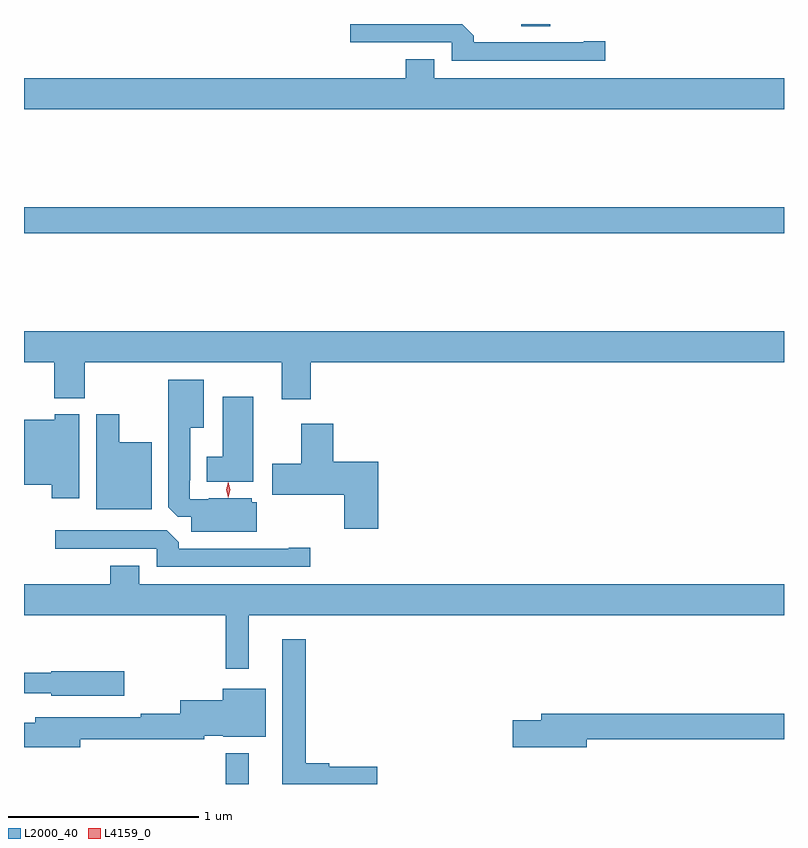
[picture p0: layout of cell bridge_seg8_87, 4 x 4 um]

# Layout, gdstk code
import gdstk
lib = gdstk.Library(unit=1e-6, precision=1e-09)
def R(c, l, rs):  # rectangles x0, y0, x1, y1
    for r in rs: c.add(gdstk.rectangle(r[:2], r[2:], *l))
def P(c, l, *ps):  # polygons
    for p in ps: c.add(gdstk.Polygon(p, *l))
L2000_40 = (2000, 40)
L4159_0 = (4159, 0)

bridge_seg8_87 = lib.new_cell('bridge_seg8_87')
R(bridge_seg8_87, L2000_40, [(804.96,1103.625,805.081,1103.788), (803.899,1106.524,807.899,1106.66), (806.516,1107.613,806.669,1107.625)])
P(bridge_seg8_87, L2000_40, [(806.959,1107.533),(806.846,1107.533),(806.846,1107.528),(806.267,1107.528),(806.267,1107.562),(806.205,1107.624),(805.617,1107.624),(805.617,1107.528),(806.151,1107.528),(806.151,1107.432),(806.959,1107.432)],
  [(807.899,1107.34),(806.059,1107.34),(806.059,1107.439),(805.907,1107.439),(805.907,1107.34),(803.899,1107.34),(803.899,1107.176),(807.899,1107.176)],
  [(805.409,1105.844),(807.899,1105.844),(807.899,1106.008),(803.899,1106.008),(803.899,1105.844),(804.059,1105.844),(804.059,1105.655),(804.219,1105.655),(804.219,1105.844),(805.256,1105.844),(805.256,1105.65),(805.409,1105.65)],
  [(805.123,1105.107),(805.098,1105.107),(805.098,1105.129),(804.871,1105.129),(804.871,1105.125),(804.771,1105.125),(804.771,1105.225),(804.775,1105.225),(804.775,1105.499),(804.844,1105.499),(804.844,1105.753),(804.659,1105.753),(804.659,1105.081),(804.708,1105.032),(804.779,1105.032),(804.779,1104.953),(805.123,1104.953)],
  [(805.105,1105.663),(804.944,1105.663),(804.944,1105.348),(804.86,1105.348),(804.86,1105.217),(805.105,1105.217)],
  [(804.571,1105.423),(804.4,1105.423),(804.4,1105.57),(804.278,1105.57),(804.278,1105.07),(804.571,1105.07)],
  [(804.19,1105.57),(804.06,1105.57),(804.06,1105.543),(803.899,1105.543),(803.899,1105.199),(804.044,1105.199),(804.044,1105.128),(804.19,1105.128)],
  [(805.763,1105.321),(805.526,1105.321),(805.526,1105.522),(805.358,1105.522),(805.358,1105.311),(805.206,1105.311),(805.206,1105.148),(805.585,1105.148),(805.585,1104.969),(805.763,1104.969)],
  [(805.405,1104.869),(805.292,1104.869),(805.292,1104.864),(804.713,1104.864),(804.713,1104.898),(804.651,1104.96),(804.063,1104.96),(804.063,1104.864),(804.597,1104.864),(804.597,1104.768),(805.405,1104.768)],
  [(805.081,1104.512),(807.899,1104.512),(807.899,1104.676),(804.505,1104.676),(804.505,1104.775),(804.353,1104.775),(804.353,1104.676),(803.899,1104.676),(803.899,1104.512),(804.96,1104.512),(804.96,1104.231),(805.081,1104.231)],
  [(805.759,1103.717),(805.506,1103.717),(805.506,1103.735),(805.381,1103.735),(805.381,1104.388),(805.259,1104.388),(805.259,1103.625),(805.759,1103.625)],
  [(804.427,1104.219),(804.042,1104.219),(804.042,1104.211),(803.899,1104.211),(803.899,1104.102),(804.042,1104.102),(804.042,1104.089),(804.427,1104.089)],
  [(804.196,1103.86),(804.848,1103.86),(804.848,1103.879),(804.948,1103.879),(804.948,1103.873),(805.171,1103.873),(805.171,1104.127),(804.944,1104.127),(804.944,1104.067),(804.722,1104.067),(804.722,1103.996),(804.514,1103.996),(804.514,1103.976),(803.957,1103.976),(803.957,1103.947),(803.899,1103.947),(803.899,1103.818),(804.196,1103.818)],
  [(806.86,1103.86),(807.899,1103.86),(807.899,1103.996),(806.621,1103.996),(806.621,1103.96),(806.472,1103.96),(806.472,1103.818),(806.86,1103.818)])
P(bridge_seg8_87, L4159_0, [(804.974,1105.132),(804.974,1105.133),(804.964,1105.173),(804.974,1105.214),(804.974,1105.214),(804.974,1105.214),(804.984,1105.173),(804.975,1105.133)])

lib.write_gds('bridge_seg8_87.gds')
